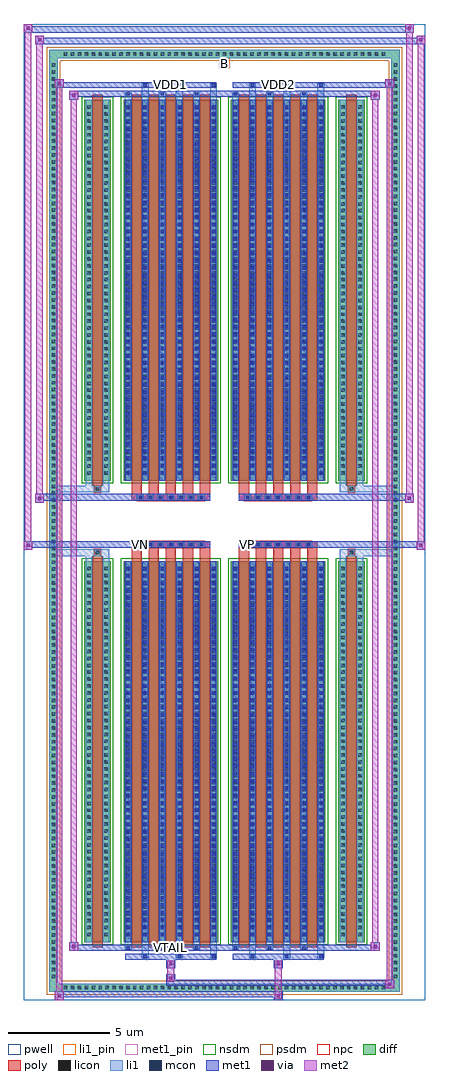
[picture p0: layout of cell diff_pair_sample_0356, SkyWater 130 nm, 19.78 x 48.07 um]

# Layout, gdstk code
import gdstk
lib = gdstk.Library(unit=1e-6, precision=5e-09)
def R(c, l, rs):  # rectangles x0, y0, x1, y1
    for r in rs: c.add(gdstk.rectangle(r[:2], r[2:], *l))
def A(c, l, x, y, w, h, nx, ny, dx, dy):  # array of equal rectangles
    R(c, l, [(x+i*dx, y+j*dy, x+i*dx+w, y+j*dy+h) for i in range(nx) for j in range(ny)])
def P(c, l, *ps):  # polygons
    for p in ps: c.add(gdstk.Polygon(p, *l))
pwell = (64, 44)
diff = (65, 20)
poly = (66, 20)
licon = (66, 44)
li1_pin = (67, 16)
li1 = (67, 20)
mcon = (67, 44)
met1_pin = (68, 16)
met1 = (68, 20)
via = (68, 44)
met2 = (69, 20)
nsdm = (93, 44)
psdm = (94, 20)
npc = (95, 20)

diff_pair_sample_0356 = lib.new_cell('diff_pair_sample_0356')
R(diff_pair_sample_0356, pwell, [(-9.89,-23.6,9.89,24.47), (-7.21,-21.79,-0.01,-0.795), (0.01,-21.79,7.21,-0.795), (-7.21,0.795,-0.01,21.79), (0.01,0.795,7.21,21.79)])
A(diff_pair_sample_0356, diff, -8.025, -23.2, 0.41, 0.41, 47, 2, 0.34, 45.99)
A(diff_pair_sample_0356, diff, -8.62, -22.645, 0.41, 0.41, 1, 133, 0, 0.34)
A(diff_pair_sample_0356, diff, 8.21, -22.645, 0.41, 0.41, 1, 133, 0, 0.34)
R(diff_pair_sample_0356, diff, [(-8.025,-23.2,8.025,-22.79), (-8.62,-22.645,-8.21,22.645), (8.21,-22.645,8.62,22.645), (-6.9,-20.745,-5.61,-1.985), (-4.97,-20.745,-0.32,-1.985), (0.32,-20.745,4.97,-1.985), (5.61,-20.745,6.9,-1.985), (-6.9,1.985,-5.61,20.745), (-4.97,1.985,-0.32,20.745), (0.32,1.985,4.97,20.745), (5.61,1.985,6.9,20.745), (-8.025,22.79,8.025,23.2)])
P(diff_pair_sample_0356, diff, [(8.62,23.2),(-8.62,23.2),(-8.62,-22.79),(-8.21,-22.79),(-8.21,22.79),(8.21,22.79),(8.21,-22.79),(-8.21,-22.79),(-8.62,-22.79),(-8.62,-23.2),(8.62,-23.2)])
A(diff_pair_sample_0356, poly, -4.58, -20.995, 0.51, 19.26, 5, 2, 0.84, 22.73)
A(diff_pair_sample_0356, poly, 0.71, -20.995, 0.51, 19.26, 5, 2, 0.84, 22.73)
A(diff_pair_sample_0356, poly, -4.58, -1.735, 0.51, 0.41, 5, 2, 0.84, 3.06)
A(diff_pair_sample_0356, poly, 0.71, -1.735, 0.51, 0.41, 5, 2, 0.84, 3.06)
A(diff_pair_sample_0356, poly, -4.31, -1.325, 0.33, 0.33, 7, 2, 0.5, 2.32)
A(diff_pair_sample_0356, poly, 0.98, -1.325, 0.33, 0.33, 7, 2, 0.5, 2.32)
R(diff_pair_sample_0356, poly, [(-6.51,-20.995,-6,-1.735), (6,-20.995,6.51,-1.735), (-6.42,-1.735,-6.09,-1.405), (-6.42,-1.735,-6.09,-1.405), (6.09,-1.735,6.42,-1.405), (6.09,-1.735,6.42,-1.405), (-4.58,-1.325,-0.71,-0.995), (0.71,-1.325,4.58,-0.995), (-4.58,0.995,-0.71,1.325), (0.71,0.995,4.58,1.325), (-6.42,1.405,-6.09,1.735), (-6.42,1.405,-6.09,1.735), (6.09,1.405,6.42,1.735), (6.09,1.405,6.42,1.735), (-6.51,1.735,-6,20.995), (6,1.735,6.51,20.995)])
A(diff_pair_sample_0356, licon, -7.905, -23.08, 0.17, 0.17, 47, 2, 0.34, 45.99)
A(diff_pair_sample_0356, licon, -8.5, -22.525, 0.17, 0.17, 1, 133, 0, 0.34)
A(diff_pair_sample_0356, licon, 8.33, -22.525, 0.17, 0.17, 1, 133, 0, 0.34)
A(diff_pair_sample_0356, licon, -6.76, -20.46, 0.17, 0.17, 1, 54, 0, 0.34)
A(diff_pair_sample_0356, licon, -5.92, -20.46, 0.17, 0.17, 1, 54, 0, 0.34)
A(diff_pair_sample_0356, licon, -4.83, -20.46, 0.17, 0.17, 6, 54, 0.84, 0.34)
A(diff_pair_sample_0356, licon, 0.46, -20.46, 0.17, 0.17, 6, 54, 0.84, 0.34)
A(diff_pair_sample_0356, licon, 5.75, -20.46, 0.17, 0.17, 1, 54, 0, 0.34)
A(diff_pair_sample_0356, licon, 6.59, -20.46, 0.17, 0.17, 1, 54, 0, 0.34)
A(diff_pair_sample_0356, licon, -4.23, -1.245, 0.17, 0.17, 7, 2, 0.5, 2.32)
A(diff_pair_sample_0356, licon, 1.06, -1.245, 0.17, 0.17, 7, 2, 0.5, 2.32)
A(diff_pair_sample_0356, licon, -6.76, 2.27, 0.17, 0.17, 1, 54, 0, 0.34)
A(diff_pair_sample_0356, licon, -5.92, 2.27, 0.17, 0.17, 1, 54, 0, 0.34)
A(diff_pair_sample_0356, licon, -4.83, 2.27, 0.17, 0.17, 6, 54, 0.84, 0.34)
A(diff_pair_sample_0356, licon, 0.46, 2.27, 0.17, 0.17, 6, 54, 0.84, 0.34)
A(diff_pair_sample_0356, licon, 5.75, 2.27, 0.17, 0.17, 1, 54, 0, 0.34)
A(diff_pair_sample_0356, licon, 6.59, 2.27, 0.17, 0.17, 1, 54, 0, 0.34)
R(diff_pair_sample_0356, licon, [(-6.34,-1.655,-6.17,-1.485), (6.17,-1.655,6.34,-1.485), (-6.34,1.485,-6.17,1.655), (6.17,1.485,6.34,1.655)])
R(diff_pair_sample_0356, li1_pin, [(-0.25,22.29,0.25,22.79)])
A(diff_pair_sample_0356, li1, -7.985, -23.16, 0.33, 0.33, 47, 2, 0.34, 45.99)
A(diff_pair_sample_0356, li1, -8.58, -22.605, 0.33, 0.33, 1, 133, 0, 0.34)
A(diff_pair_sample_0356, li1, 8.25, -22.605, 0.33, 0.33, 1, 133, 0, 0.34)
A(diff_pair_sample_0356, li1, -4.07, -21.55, 0.33, 0.805, 3, 2, 1.68, 42.295)
A(diff_pair_sample_0356, li1, -3.99, -21.55, 0.17, 0.17, 3, 2, 1.68, 42.93)
A(diff_pair_sample_0356, li1, 1.22, -21.55, 0.33, 0.805, 3, 2, 1.68, 42.295)
A(diff_pair_sample_0356, li1, 1.3, -21.55, 0.17, 0.17, 3, 2, 1.68, 42.93)
A(diff_pair_sample_0356, li1, -4.91, -21.12, 0.33, 0.375, 3, 2, 1.68, 41.865)
A(diff_pair_sample_0356, li1, -4.83, -21.12, 0.17, 0.17, 3, 2, 1.68, 42.07)
A(diff_pair_sample_0356, li1, 0.38, -21.12, 0.33, 0.375, 3, 2, 1.68, 41.865)
A(diff_pair_sample_0356, li1, 0.46, -21.12, 0.17, 0.17, 3, 2, 1.68, 42.07)
A(diff_pair_sample_0356, li1, -4.91, -20.745, 0.33, 18.76, 6, 2, 0.84, 22.73)
A(diff_pair_sample_0356, li1, 0.38, -20.745, 0.33, 18.76, 6, 2, 0.84, 22.73)
A(diff_pair_sample_0356, li1, -6.84, -20.54, 0.33, 0.33, 1, 54, 0, 0.34)
A(diff_pair_sample_0356, li1, -6, -20.54, 0.33, 0.33, 1, 54, 0, 0.34)
A(diff_pair_sample_0356, li1, -4.91, -20.54, 0.33, 0.33, 6, 54, 0.84, 0.34)
A(diff_pair_sample_0356, li1, 0.38, -20.54, 0.33, 0.33, 6, 54, 0.84, 0.34)
A(diff_pair_sample_0356, li1, 5.67, -20.54, 0.33, 0.33, 1, 54, 0, 0.34)
A(diff_pair_sample_0356, li1, 6.51, -20.54, 0.33, 0.33, 1, 54, 0, 0.34)
A(diff_pair_sample_0356, li1, -4.83, -20.45, 0.17, 0.17, 6, 51, 0.84, 0.36)
A(diff_pair_sample_0356, li1, -4.83, -20.45, 0.17, 18.17, 6, 2, 0.84, 22.73)
A(diff_pair_sample_0356, li1, 0.46, -20.45, 0.17, 0.17, 6, 51, 0.84, 0.36)
A(diff_pair_sample_0356, li1, 0.46, -20.45, 0.17, 18.17, 6, 2, 0.84, 22.73)
A(diff_pair_sample_0356, li1, -4.31, -1.325, 0.33, 0.33, 7, 2, 0.5, 2.32)
A(diff_pair_sample_0356, li1, 0.98, -1.325, 0.33, 0.33, 7, 2, 0.5, 2.32)
A(diff_pair_sample_0356, li1, -6.84, 2.19, 0.33, 0.33, 1, 54, 0, 0.34)
A(diff_pair_sample_0356, li1, -6, 2.19, 0.33, 0.33, 1, 54, 0, 0.34)
A(diff_pair_sample_0356, li1, -4.91, 2.19, 0.33, 0.33, 6, 54, 0.84, 0.34)
A(diff_pair_sample_0356, li1, 0.38, 2.19, 0.33, 0.33, 6, 54, 0.84, 0.34)
A(diff_pair_sample_0356, li1, 5.67, 2.19, 0.33, 0.33, 1, 54, 0, 0.34)
A(diff_pair_sample_0356, li1, 6.51, 2.19, 0.33, 0.33, 1, 54, 0, 0.34)
A(diff_pair_sample_0356, li1, -4.83, 2.28, 0.17, 0.17, 6, 51, 0.84, 0.36)
A(diff_pair_sample_0356, li1, 0.46, 2.28, 0.17, 0.17, 6, 51, 0.84, 0.36)
R(diff_pair_sample_0356, li1, [(-8.62,-23.2,-8.21,-22.79), (-8.62,-23.2,-8.21,-22.79), (-8.21,-23.2,8.21,-22.79), (8.21,-23.2,8.62,-22.79), (8.21,-23.2,8.62,-22.79), (-8.62,-22.79,-8.21,22.79), (8.21,-22.79,8.62,22.79), (-6.84,-20.745,-6.51,-1.985), (-6,-20.745,-5.67,-1.985), (5.67,-20.745,6,-1.985), (6.51,-20.745,6.84,-1.985), (-6.84,-1.985,-6.51,-1.405), (-6,-1.985,-5.67,-1.405), (5.67,-1.985,6,-1.405), (6.51,-1.985,6.84,-1.405), (-8.62,-1.735,-6.42,-1.405), (-6.84,-1.735,-6.42,-1.405), (-6.42,-1.735,-6.09,-1.405), (-6.09,-1.735,-5.67,-1.405), (5.67,-1.735,6.09,-1.405), (6.09,-1.735,6.42,-1.405), (6.09,-1.735,8.62,-1.405), (6.42,-1.735,6.84,-1.405), (-8.62,1.405,-6.42,1.735), (-6.84,1.405,-6.42,1.735), (-6.84,1.405,-6.51,1.985), (-6.42,1.405,-6.09,1.735), (-6.09,1.405,-5.67,1.735), (-6,1.405,-5.67,1.985), (5.67,1.405,6.09,1.735), (5.67,1.405,6,1.985), (6.09,1.405,6.42,1.735), (6.09,1.405,8.62,1.735), (6.42,1.405,6.84,1.735), (6.51,1.405,6.84,1.985), (-6.84,1.985,-6.51,20.745), (-6,1.985,-5.67,20.745), (5.67,1.985,6,20.745), (6.51,1.985,6.84,20.745), (-8.62,22.79,-8.21,23.2), (-8.62,22.79,-8.21,23.2), (-8.21,22.79,8.21,23.2), (8.21,22.79,8.62,23.2), (8.21,22.79,8.62,23.2)])
A(diff_pair_sample_0356, mcon, -3.99, -21.55, 0.17, 0.17, 3, 2, 1.68, 42.93)
A(diff_pair_sample_0356, mcon, 1.3, -21.55, 0.17, 0.17, 3, 2, 1.68, 42.93)
A(diff_pair_sample_0356, mcon, -4.83, -21.12, 0.17, 0.17, 3, 2, 1.68, 42.07)
A(diff_pair_sample_0356, mcon, 0.46, -21.12, 0.17, 0.17, 3, 2, 1.68, 42.07)
A(diff_pair_sample_0356, mcon, -4.83, -20.45, 0.17, 0.17, 6, 51, 0.84, 0.36)
A(diff_pair_sample_0356, mcon, 0.46, -20.45, 0.17, 0.17, 6, 51, 0.84, 0.36)
A(diff_pair_sample_0356, mcon, -4.23, -1.245, 0.17, 0.17, 7, 2, 0.5, 2.32)
A(diff_pair_sample_0356, mcon, 1.06, -1.245, 0.17, 0.17, 7, 2, 0.5, 2.32)
A(diff_pair_sample_0356, mcon, -4.83, 2.28, 0.17, 0.17, 6, 51, 0.84, 0.36)
A(diff_pair_sample_0356, mcon, 0.46, 2.28, 0.17, 0.17, 6, 51, 0.84, 0.36)
R(diff_pair_sample_0356, met1_pin, [(-2.78,-21.16,-2.51,-20.89), (-4.28,-1.285,-4.01,-1.015), (1.01,-1.285,1.28,-1.015), (-2.78,21.34,-2.51,21.61), (2.51,21.34,2.78,21.61)])
A(diff_pair_sample_0356, met1, -4.05, -21.61, 0.29, 0.29, 3, 2, 1.68, 42.93)
A(diff_pair_sample_0356, met1, 1.24, -21.61, 0.29, 0.29, 3, 2, 1.68, 42.93)
A(diff_pair_sample_0356, met1, -4.89, -21.18, 0.29, 0.29, 3, 2, 1.68, 42.07)
A(diff_pair_sample_0356, met1, 0.4, -21.18, 0.29, 0.29, 3, 2, 1.68, 42.07)
A(diff_pair_sample_0356, met1, -4.89, -20.745, 0.29, 18.76, 6, 2, 0.84, 22.73)
A(diff_pair_sample_0356, met1, 0.4, -20.745, 0.29, 18.76, 6, 2, 0.84, 22.73)
A(diff_pair_sample_0356, met1, -4.89, -20.51, 0.29, 0.29, 6, 51, 0.84, 0.36)
A(diff_pair_sample_0356, met1, 0.4, -20.51, 0.29, 0.29, 6, 51, 0.84, 0.36)
A(diff_pair_sample_0356, met1, -4.29, -1.305, 0.29, 0.29, 7, 2, 0.5, 2.32)
A(diff_pair_sample_0356, met1, 1, -1.305, 0.29, 0.29, 7, 2, 0.5, 2.32)
A(diff_pair_sample_0356, met1, -4.89, 2.22, 0.29, 0.29, 6, 51, 0.84, 0.36)
A(diff_pair_sample_0356, met1, 0.4, 2.22, 0.29, 0.29, 6, 51, 0.84, 0.36)
R(diff_pair_sample_0356, met1, [(-8.35,-23.6,-7.92,-23.17), (2.43,-23.6,2.86,-23.17), (-8.35,-23.46,2.86,-23.17), (7.92,-23.03,8.35,-22.6), (-2.86,-22.89,8.35,-22.6), (-2.86,-22.75,-2.43,-22.32), (-2.86,-22.04,-2.43,-21.61), (2.43,-22.04,2.86,-21.61), (-4.89,-21.61,-0.4,-21.32), (0.4,-21.61,4.89,-21.32), (-7.64,-21.18,-7.21,-20.75), (-7.64,-21.18,-4.89,-20.89), (-4.89,-21.18,-0.4,-20.89), (-0.4,-21.18,0.4,-20.89), (0.4,-21.18,4.89,-20.89), (4.89,-21.18,7.64,-20.89), (7.21,-21.18,7.64,-20.75), (-9.89,-1.425,-9.46,-0.995), (9.46,-1.425,9.89,-0.995), (-9.89,-1.325,-0.71,-0.995), (-4.58,-1.325,-0.71,-0.995), (0.71,-1.325,4.58,-0.995), (0.71,-1.325,9.89,-0.995), (-9.32,0.895,-8.89,1.325), (8.89,0.895,9.32,1.325), (-9.32,0.995,-4.58,1.325), (-4.58,0.995,-0.71,1.325), (0.71,0.995,4.58,1.325), (4.58,0.995,9.32,1.325), (-7.64,20.75,-7.21,21.18), (7.21,20.75,7.64,21.18), (-7.64,20.89,-4.89,21.18), (-4.89,20.89,-0.4,21.18), (-0.4,20.89,0.4,21.18), (0.4,20.89,4.89,21.18), (4.89,20.89,7.64,21.18), (-8.35,21.32,-7.92,21.75), (-8.35,21.32,-4.89,21.61), (-4.89,21.32,-0.4,21.61), (0.4,21.32,4.89,21.61), (4.89,21.32,8.35,21.61), (7.92,21.32,8.35,21.75), (-9.32,23.47,-8.89,23.9), (-9.32,23.47,-7.21,23.8), (-7.21,23.47,7.21,23.8), (7.21,23.47,9.89,23.8), (9.46,23.47,9.89,23.9), (-9.89,24.04,-9.46,24.47), (-9.89,24.04,-7.21,24.37), (-7.21,24.04,7.21,24.37), (7.21,24.04,9.32,24.37), (8.89,24.04,9.32,24.47)])
R(diff_pair_sample_0356, via, [(-8.21,-23.46,-8.06,-23.31), (2.57,-23.46,2.72,-23.31), (8.06,-22.89,8.21,-22.74), (-2.72,-22.61,-2.57,-22.46), (-2.72,-21.9,-2.57,-21.75), (2.57,-21.9,2.72,-21.75), (-7.5,-21.04,-7.35,-20.89), (7.35,-21.04,7.5,-20.89), (-9.75,-1.285,-9.6,-1.135), (9.6,-1.285,9.75,-1.135), (-9.18,1.035,-9.03,1.185), (9.03,1.035,9.18,1.185), (-7.5,20.89,-7.35,21.04), (7.35,20.89,7.5,21.04), (-8.21,21.46,-8.06,21.61), (8.06,21.46,8.21,21.61), (-9.18,23.61,-9.03,23.76), (9.6,23.61,9.75,23.76), (-9.75,24.18,-9.6,24.33), (9.03,24.18,9.18,24.33)])
R(diff_pair_sample_0356, met2, [(-8.35,-23.6,-7.92,-23.17), (-8.28,-23.6,-7.99,21.75), (-7.99,-23.6,-7.92,-23.17), (-8.3,-23.55,-7.97,-23.22), (2.48,-23.55,2.81,-23.22), (2.48,-23.22,2.81,-21.99), (7.92,-23.03,8.35,-22.6), (7.99,-23.03,8.28,21.75), (8.28,-23.03,8.35,-22.6), (7.97,-22.98,8.3,-22.65), (-2.81,-22.7,-2.48,-22.37), (-2.81,-22.37,-2.48,-21.99), (-2.81,-21.99,-2.48,-21.66), (2.48,-21.99,2.81,-21.66), (-7.64,-21.18,-7.21,-20.75), (-7.57,-21.18,-7.28,21.18), (-7.28,-21.18,-7.21,-20.75), (7.21,-21.18,7.64,-20.75), (7.28,-21.18,7.57,21.18), (7.57,-21.18,7.64,-20.75), (-7.59,-21.13,-7.26,-20.8), (7.26,-21.13,7.59,-20.8), (-9.89,-1.425,-9.46,-0.995), (-9.84,-1.425,-9.51,24.47), (-9.51,-1.425,-9.46,-0.995), (9.46,-1.425,9.89,-0.995), (9.51,-1.425,9.84,23.9), (9.84,-1.425,9.89,-0.995), (-9.84,-1.375,-9.51,-1.045), (9.51,-1.375,9.84,-1.045), (-9.32,0.895,-8.89,1.325), (-9.27,0.895,-8.94,23.9), (-8.94,0.895,-8.89,1.325), (8.89,0.895,9.32,1.325), (8.94,0.895,9.27,24.47), (9.27,0.895,9.32,1.325), (-9.27,0.945,-8.94,1.275), (8.94,0.945,9.27,1.275), (-7.64,20.75,-7.21,21.18), (-7.28,20.75,-7.21,21.18), (7.21,20.75,7.64,21.18), (7.57,20.75,7.64,21.18), (-7.59,20.8,-7.26,21.13), (7.26,20.8,7.59,21.13), (-8.35,21.32,-7.92,21.75), (-7.99,21.32,-7.92,21.75), (7.92,21.32,8.35,21.75), (8.28,21.32,8.35,21.75), (-8.3,21.37,-7.97,21.7), (7.97,21.37,8.3,21.7), (-9.32,23.47,-8.89,23.9), (-8.94,23.47,-8.89,23.9), (9.46,23.47,9.89,23.9), (9.84,23.47,9.89,23.9), (-9.27,23.52,-8.94,23.85), (9.51,23.52,9.84,23.85), (-9.89,24.04,-9.46,24.47), (-9.51,24.04,-9.46,24.47), (8.89,24.04,9.32,24.47), (9.27,24.04,9.32,24.47), (-9.84,24.09,-9.51,24.42), (8.94,24.09,9.27,24.42)])
R(diff_pair_sample_0356, nsdm, [(-7.03,-20.875,-5.48,-1.855), (-5.1,-20.875,-0.19,-1.855), (0.19,-20.875,5.1,-1.855), (5.48,-20.875,7.03,-1.855), (-7.03,1.855,-5.48,20.875), (-5.1,1.855,-0.19,20.875), (0.19,1.855,5.1,20.875), (5.48,1.855,7.03,20.875)])
P(diff_pair_sample_0356, psdm, [(8.75,23.33),(-8.75,23.33),(-8.75,-22.66),(-8.08,-22.66),(-8.08,22.66),(8.08,22.66),(8.08,-22.66),(-8.08,-22.66),(-8.75,-22.66),(-8.75,-23.33),(8.75,-23.33)])
A(diff_pair_sample_0356, npc, -4.33, -1.345, 0.37, 0.37, 7, 2, 0.5, 2.32)
A(diff_pair_sample_0356, npc, 0.96, -1.345, 0.37, 0.37, 7, 2, 0.5, 2.32)
R(diff_pair_sample_0356, npc, [(-6.44,-1.755,-6.07,-1.385), (6.07,-1.755,6.44,-1.385), (-4.33,-1.345,-3.46,-0.975), (-4.33,-1.345,-3.46,-0.975), (-3.83,-1.345,-2.96,-0.975), (-3.83,-1.345,-2.96,-0.975), (-3.33,-1.345,-2.46,-0.975), (-3.33,-1.345,-2.46,-0.975), (-2.83,-1.345,-1.96,-0.975), (-2.83,-1.345,-1.96,-0.975), (-2.33,-1.345,-1.46,-0.975), (-2.33,-1.345,-1.46,-0.975), (-1.83,-1.345,-0.96,-0.975), (-1.83,-1.345,-0.96,-0.975), (0.96,-1.345,1.83,-0.975), (0.96,-1.345,1.83,-0.975), (1.46,-1.345,2.33,-0.975), (1.46,-1.345,2.33,-0.975), (1.96,-1.345,2.83,-0.975), (1.96,-1.345,2.83,-0.975), (2.46,-1.345,3.33,-0.975), (2.46,-1.345,3.33,-0.975), (2.96,-1.345,3.83,-0.975), (2.96,-1.345,3.83,-0.975), (3.46,-1.345,4.33,-0.975), (3.46,-1.345,4.33,-0.975), (-4.33,0.975,-3.46,1.345), (-4.33,0.975,-3.46,1.345), (-3.83,0.975,-2.96,1.345), (-3.83,0.975,-2.96,1.345), (-3.33,0.975,-2.46,1.345), (-3.33,0.975,-2.46,1.345), (-2.83,0.975,-1.96,1.345), (-2.83,0.975,-1.96,1.345), (-2.33,0.975,-1.46,1.345), (-2.33,0.975,-1.46,1.345), (-1.83,0.975,-0.96,1.345), (-1.83,0.975,-0.96,1.345), (0.96,0.975,1.83,1.345), (0.96,0.975,1.83,1.345), (1.46,0.975,2.33,1.345), (1.46,0.975,2.33,1.345), (1.96,0.975,2.83,1.345), (1.96,0.975,2.83,1.345), (2.46,0.975,3.33,1.345), (2.46,0.975,3.33,1.345), (2.96,0.975,3.83,1.345), (2.96,0.975,3.83,1.345), (3.46,0.975,4.33,1.345), (3.46,0.975,4.33,1.345), (-6.44,1.385,-6.07,1.755), (6.07,1.385,6.44,1.755)])
diff_pair_sample_0356.add(gdstk.Label('VTAIL', (-2.645,-21.025), layer=68, texttype=5))
diff_pair_sample_0356.add(gdstk.Label('VN', (-4.145,-1.15), layer=68, texttype=5))
diff_pair_sample_0356.add(gdstk.Label('VP', (1.145,-1.15), layer=68, texttype=5))
diff_pair_sample_0356.add(gdstk.Label('B', (0,22.54), layer=67, texttype=5))
diff_pair_sample_0356.add(gdstk.Label('VDD2', (2.645,21.475), layer=68, texttype=5))
diff_pair_sample_0356.add(gdstk.Label('VDD1', (-2.645,21.475), layer=68, texttype=5))

lib.write_gds('diff_pair_sample_0356.gds')
